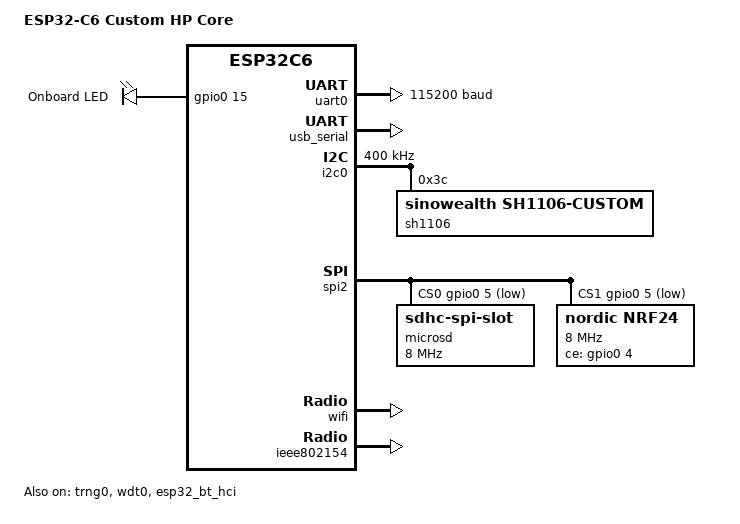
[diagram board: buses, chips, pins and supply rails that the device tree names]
/*
 * SPDX-License-Identifier: Apache-2.0
 */

/dts-v1/;

#include <espressif/esp32c6/esp32c6_wroom_n4.dtsi>
#include "esp32c6_custom_hpcore-pinctrl.dtsi"
#include <zephyr/dt-bindings/gpio/gpio.h>
#include <zephyr/dt-bindings/i2c/i2c.h>
#include <espressif/partitions_0x0_default.dtsi>

/ {
	model = "ESP32-C6 Custom HP Core";
	compatible = "surya,esp32c6-custom", "espressif,esp32c6";

	chosen {
		zephyr,sram = &sramhp;
		zephyr,console = &usb_serial;
		zephyr,shell-uart = &usb_serial;
		zephyr,flash = &flash0;
		zephyr,code-partition = &slot0_partition;
		zephyr,ieee802154 = &ieee802154;
	};

	aliases {
		led0 = &onboard_led;
		watchdog0 = &wdt0;
	};

	leds {
		compatible = "gpio-leds";

		onboard_led: onboard_led {
			gpios = <&gpio0 15 GPIO_ACTIVE_HIGH>;
			label = "Onboard LED";
		};
	};
};

&uart0 {
	status = "okay";
	current-speed = <115200>;
	pinctrl-0 = <&uart0_default>;
	pinctrl-names = "default";
};

&usb_serial {
	status = "okay";
};

&trng0 {
	status = "okay";
};

&i2c0 {
	status = "okay";
	clock-frequency = <I2C_BITRATE_FAST>;
	pinctrl-0 = <&i2c0_default>;
	pinctrl-names = "default";

	sh1106: sh1106@3c {
		compatible = "sinowealth,sh1106-custom";
		reg = <0x3c>;
		status = "okay";
	};
};

&spi2 {
	#address-cells = <1>;
	#size-cells = <0>;
	status = "okay";
	pinctrl-0 = <&spim2_default>;
	pinctrl-names = "default";
	cs-gpios = <&gpio0 5 GPIO_ACTIVE_LOW>, <&gpio0 5 GPIO_ACTIVE_LOW>;

	microsd: microsd@0 {
		compatible = "zephyr,sdhc-spi-slot";
		reg = <0>;
		spi-max-frequency = <8000000>;
		status = "okay";
	};

	nrf24: nrf24@1 {
		compatible = "nordic,nrf24";
		reg = <1>;
		spi-max-frequency = <8000000>;
		ce-gpios = <&gpio0 4 GPIO_ACTIVE_HIGH>;
		status = "okay";
	};
};

&gpio0 {
	status = "okay";
};

&wdt0 {
	status = "okay";
};

&wifi {
	status = "okay";
};

&ieee802154 {
	status = "okay";
};

&esp32_bt_hci {
	status = "okay";
};
